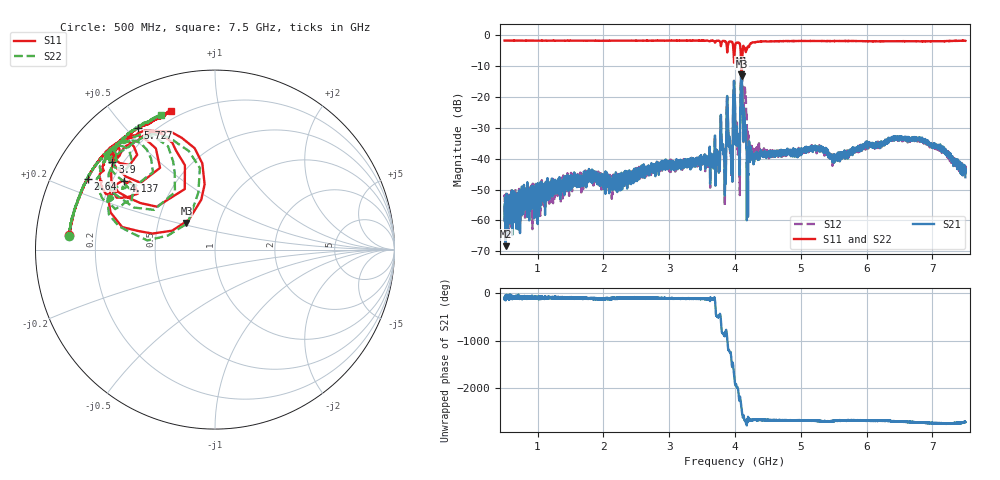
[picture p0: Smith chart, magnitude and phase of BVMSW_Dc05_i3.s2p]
!Keysight Technologies,M9374A,MY55442783,A.12.55.05
!Date: Thursday, May 20, 2021 18:53:09
!Correction: S11(Full 2 Port(1,2))
!S21(Full 2 Port(1,2))
!S12(Full 2 Port(1,2))
!S22(Full 2 Port(1,2))
!S2P File: Measurements: S11, S21, S12, S22:
# Hz S  RI  R 50
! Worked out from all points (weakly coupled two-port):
!   7001 points, 500 MHz to 7.5 GHz, reference 50 ohm
!   highest |S21| = -12.44 dB at 4.098 GHz (marker M1); lowest = -68.3 dB at 514 MHz (marker M2)
!   lowest |S11| = -13.2 dB at 4.101 GHz (marker M3), VSWR 1.56, Z = 34.9 + j10.9 ohm
!   |S11| at or under -10 dB: 4.094589 GHz to 4.105548 GHz (10.96 MHz wide, 0.267 % of centre)
!   |S22| runs from -13.5 to -1.7 dB; largest |S21 - S12| = 0.16
!   S11 on the Smith chart (normalised r, x): 500 MHz: 0.10, +0.05; 2.64 GHz: 0.11, +0.26; 3.9 GHz: 0.16, +0.36; 4.137 GHz: 0.25, +0.32; 5.727 GHz: 0.14, +0.54; 7.5 GHz: 0.16, +0.72
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5e8  -0.8111 0.0816  -0.00141 -0.00114  -0.00145 -0.00195  -0.8137 0.0763
5.14e8  -0.8112 0.0833  -0.000366 -0.000114  -3e-05 -0.000669  -0.814 0.0763
1.667e9  -0.7702 0.2549  -0.00267 -0.00442  -0.00199 -0.00443  -0.7777 0.2389
2.64e9  -0.7098 0.3957  -0.00175 -0.00582  -0.00145 -0.00581  -0.7229 0.3709
2.834e9  -0.6964 0.4222  -0.00305 -0.00693  -0.00357 -0.00755  -0.7112 0.4004
3.736e9  -0.5654 0.5809  -0.00932 -0.00698  -0.0102 -0.00634  -0.5906 0.5551
3.805e9  -0.5739 0.5467  -0.00691 -0.0129  -0.00731 -0.0142  -0.5919 0.5212
3.831e9  -0.5344 0.6004  -0.0104 -0.00516  -0.0125 -0.00497  -0.5561 0.575
3.9e9  -0.5717 0.4903  -0.0112 -0.0166  -0.0101 -0.0187  -0.5863 0.4719
3.933e9  -0.5036 0.6076  -0.014 -0.0016  -0.0142 -0.0012  -0.5255 0.5877
4e9  -0.5405 0.3215  -0.00356 -0.073  -0.00473 -0.0716  -0.5654 0.3148
4.042e9  -0.4862 0.579  -0.0171 0.0049  -0.00944 0.00683  -0.5054 0.5576
4.098e9  -0.1071 0.199  -0.1192 0.2068  -0.1522 0.2305  -0.1307 0.2126
4.101e9  -0.1589 0.1489  0.0256 0.2268  0.0323 0.2778  -0.1903 0.1246
4.137e9  -0.5068 0.3839  -0.00644 -0.0654  -0.0796 -0.0737  -0.5006 0.3353
4.191e9  -0.5587 0.3275  -0.00423 -0.00349  0.0182 -0.00105  -0.5614 0.2889
4.247e9  -0.6297 0.3791  -0.00948 -0.00698  -0.00593 -0.0125  -0.6533 0.3521
5.167e9  -0.5022 0.6266  -0.0138 -0.00747  -0.0131 -0.00739  -0.5475 0.5877
5.727e9  -0.4307 0.6773  -0.0105 -0.00643  -0.01 -0.00634  -0.4923 0.6388
6.334e9  -0.3598 0.7101  -0.0181 -0.00754  -0.019 -0.00731  -0.4279 0.6863
6.869e9  -0.305 0.7327  -0.0192 0.00459  -0.0178 0.0062  -0.3692 0.716
7.5e9  -0.2477 0.7717  -0.00499 0.000527  -0.00679 0.00064  -0.3033 0.7485
